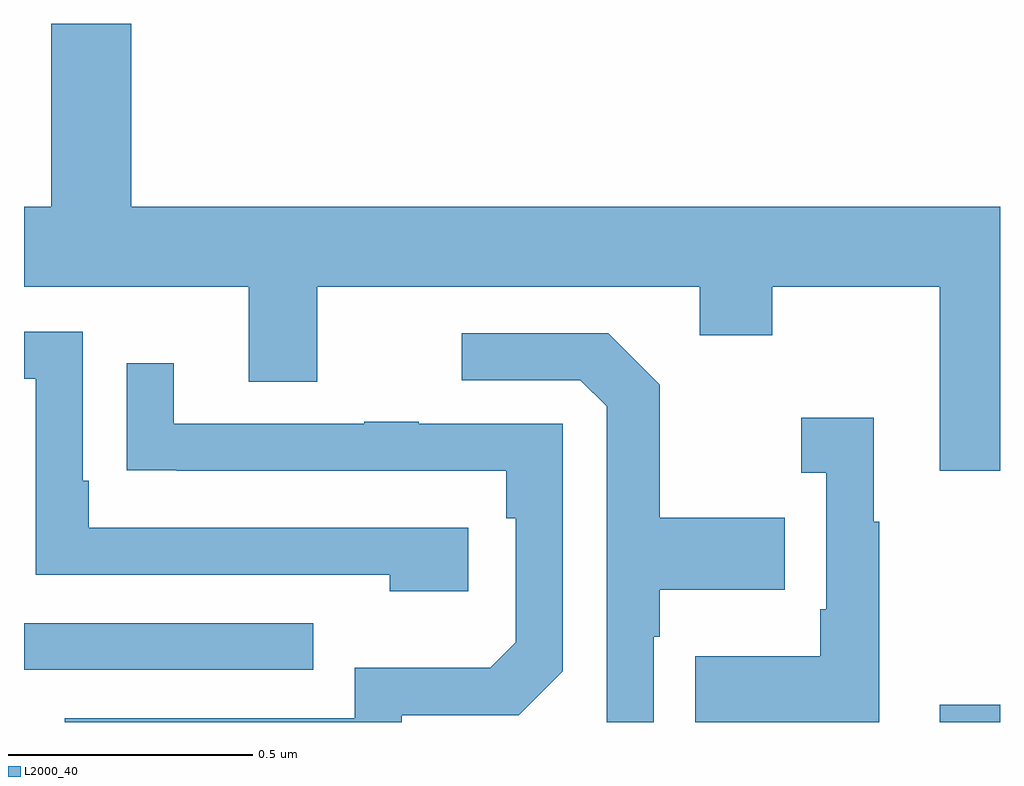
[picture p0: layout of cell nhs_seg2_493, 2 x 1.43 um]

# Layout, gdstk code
import gdstk
lib = gdstk.Library(unit=1e-6, precision=1e-09)
def R(c, l, rs):  # rectangles x0, y0, x1, y1
    for r in rs: c.add(gdstk.rectangle(r[:2], r[2:], *l))
def P(c, l, *ps):  # polygons
    for p in ps: c.add(gdstk.Polygon(p, *l))
L2000_40 = (2000, 40)

nhs_seg2_493 = lib.new_cell('nhs_seg2_493')
R(nhs_seg2_493, L2000_40, [(118.877,590.8,119,590.836), (117,590.907,117.593,591.003)])
P(nhs_seg2_493, L2000_40, [(119,591.856),(117.22,591.856),(117.22,592.231),(117.056,592.231),(117.056,591.856),(117,591.856),(117,591.692),(117.461,591.692),(117.461,591.498),(117.601,591.498),(117.601,591.692),(118.385,591.692),(118.385,591.593),(118.533,591.593),(118.533,591.692),(118.877,591.692),(118.877,591.315),(119,591.315)],
  [(117.91,591.198),(117.133,591.198),(117.133,591.295),(117.12,591.295),(117.12,591.6),(117,591.6),(117,591.504),(117.024,591.504),(117.024,591.102),(117.749,591.102),(117.749,591.068),(117.91,591.068)],
  [(118.29,590.975),(118.303,590.975),(118.303,591.071),(118.559,591.071),(118.559,591.219),(118.303,591.219),(118.303,591.491),(118.197,591.597),(117.897,591.597),(117.897,591.501),(118.14,591.501),(118.194,591.447),(118.194,590.8),(118.29,590.8)],
  [(117.774,590.814),(118.014,590.814),(118.104,590.904),(118.104,591.411),(117.809,591.411),(117.809,591.416),(117.697,591.416),(117.697,591.411),(117.307,591.411),(117.307,591.535),(117.211,591.535),(117.211,591.316),(117.313,591.316),(117.313,591.315),(117.988,591.315),(117.988,591.218),(118.008,591.218),(118.008,590.964),(117.955,590.911),(117.678,590.911),(117.678,590.808),(117.083,590.808),(117.083,590.8),(117.774,590.8)],
  [(118.753,591.211),(118.741,591.211),(118.741,591.424),(118.593,591.424),(118.593,591.311),(118.644,591.311),(118.644,591.031),(118.632,591.031),(118.632,590.935),(118.375,590.935),(118.375,590.8),(118.753,590.8)])

lib.write_gds('nhs_seg2_493.gds')
